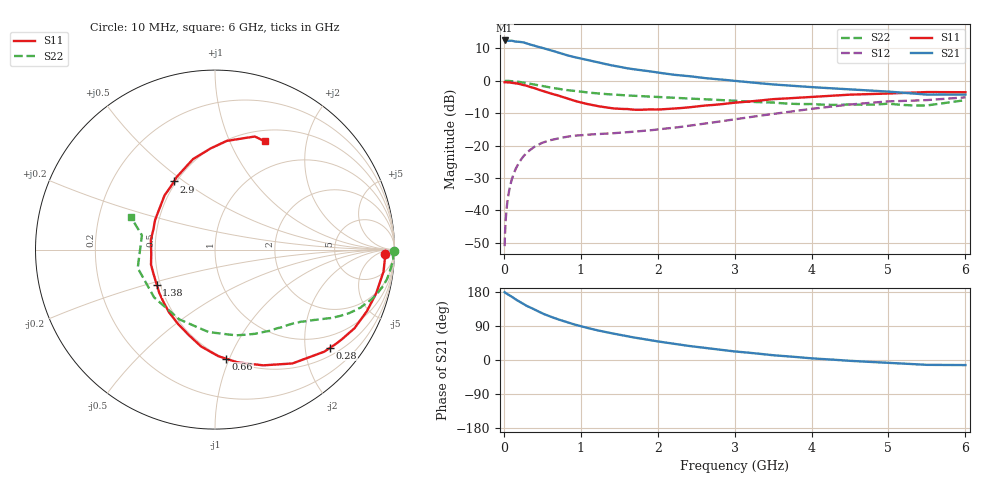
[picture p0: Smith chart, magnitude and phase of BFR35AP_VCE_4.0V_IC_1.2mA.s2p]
! Infineon Technologies  Discrete & RF Semiconductors
! BFR35AP
! VCE =  4.0 V,  IC =  1.2 mA
! Common Emitter S-Parameters:  Nov 2015
# GHz  S  MA  R  50
!  f  S11  S21  S12  S22
! GHz  MAG  ANG  MAG  ANG  MAG  ANG  MAG  ANG
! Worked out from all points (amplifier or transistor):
!   210 points, 10 MHz to 6 GHz, reference 50 ohm
!   highest |S21| = 12.4 dB at 10 MHz (marker M1)
!   |S21| within 3 dB of that: start of sweep to 609 MHz
!   unconditionally stable (mu >= 1): 1.359 GHz to 3.935 GHz; 5.143 GHz to end of sweep
!   at 185 MHz: K = 0.17, MSG = 18.9 dB, |S12| = -25.8 dB
!   at 1.52 GHz: K = 1.08, MAG = 8.5 dB, |S12| = -16.0 dB
!   at 6 GHz: K = 1.01, MAG = -0.2 dB, |S12| = -5.1 dB
!   S11 on the Smith chart (normalised r, x): 10 MHz: 30, -16; 280 MHz: 0.68, -2.56; 660 MHz: 0.50, -0.97; 1.38 GHz: 0.48, -0.22; 2.9 GHz: 0.49, +0.46; 6 GHz: 0.63, +1.37
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0.01  0.9487 -1.6  4.177 179.1  0.0028 90.2  1 -0.6
0.02  0.948 -3.0  4.107 177.3  0.0058 88.7  0.9902 -1.3
0.03  0.947 -4.5  4.109 176.1  0.0088 87.1  0.9917 -1.9
0.05  0.947 -7.4  4.118 173.7  0.0147 85.9  0.9952 -3.2
0.08  0.9349 -12.0  4.133 169.9  0.0233 82.2  0.9886 -5.1
0.1  0.9304 -15.2  4.153 167.4  0.029 81.0  0.9848 -6.3
0.165  0.9053 -24.3  4.002 158.5  0.0464 74.6  0.9689 -10.3
0.24  0.8659 -35.2  3.933 149.5  0.0647 68.7  0.9418 -14.5
0.28  0.8431 -40.4  3.815 144.9  0.0735 65.7  0.9242 -16.6
0.4  0.7674 -55.7  3.463 133.0  0.0961 58.1  0.8734 -21.7
0.5  0.6985 -67.4  3.207 122.8  0.1103 52.9  0.8288 -25.2
0.66  0.6107 -84.2  2.829 110.5  0.1253 46.1  0.7659 -29.5
0.8  0.5457 -98.1  2.512 100.8  0.1352 42.0  0.7214 -32.3
1.02  0.4557 -118.3  2.173 88.1  0.1448 38.4  0.6718 -35.8
1.2  0.4096 -134.5  1.95 79.0  0.1497 36.8  0.6398 -38.7
1.38  0.3787 -149.1  1.745 71.4  0.1539 36.7  0.6155 -41.3
2.02  0.3603 163.4  1.327 48.5  0.1781 40.6  0.5588 -51.7
2.9  0.4432 121.0  1.023 25.0  0.2436 44.6  0.497 -73.3
3.1  0.4676 114.6  0.969 20.8  0.2637 44.0  0.4816 -79.8
4.1  0.5724 90.6  0.783 3.2  0.3799 36.1  0.4292 -121.9
5.1  0.6406 75.6  0.665 -8.6  0.4836 20.9  0.431 -171.2
6  0.6641 65.1  0.61 -13.4  0.5536 9.1  0.5012 159.0
